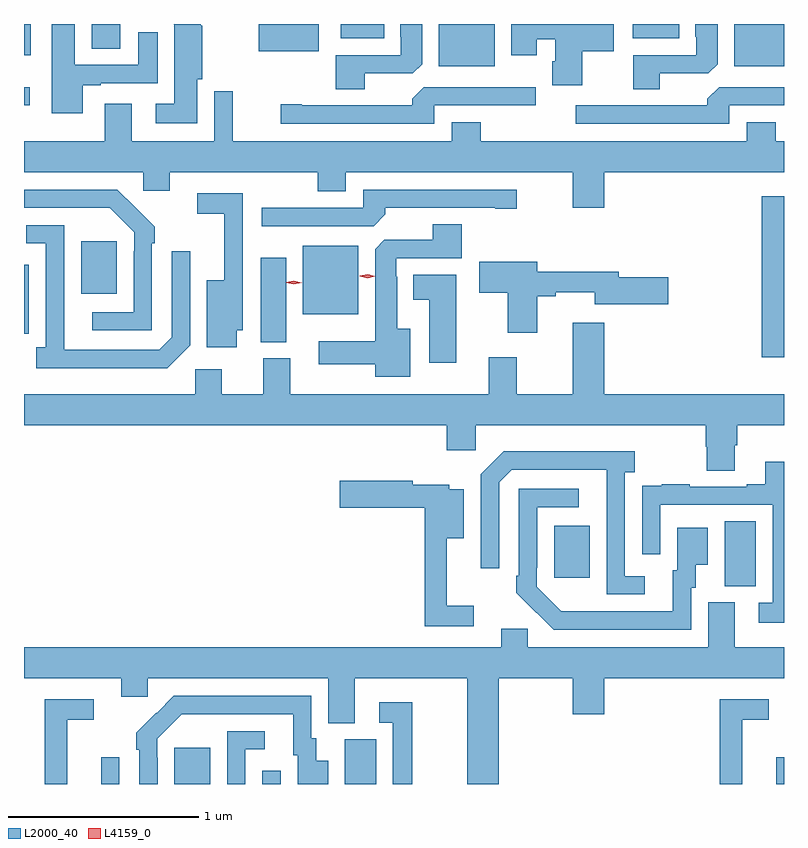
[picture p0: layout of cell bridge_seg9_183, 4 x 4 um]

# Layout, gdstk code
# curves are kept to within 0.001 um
import gdstk
lib = gdstk.Library(unit=1e-6, precision=1e-09)
def R(c, l, rs):  # rectangles x0, y0, x1, y1
    for r in rs: c.add(gdstk.rectangle(r[:2], r[2:], *l))
def P(c, l, *ps):  # polygons
    for p in ps: c.add(gdstk.Polygon(p, *l))
L2000_40 = (2000, 40)
L4159_0 = (4159, 0)

bridge_seg9_183 = lib.new_cell('bridge_seg9_183')
R(bridge_seg9_183, L2000_40, [(138.549,1242.484,138.645,1242.625), (138.935,1242.484,139.123,1242.676), (139.398,1242.484,139.494,1242.553), (139.832,1242.484,139.996,1242.72), (142.101,1242.484,142.143,1242.625), (141.83,1243.525,141.994,1243.868), (140.933,1243.569,141.121,1243.843), (142.027,1244.73,142.143,1245.577), (139.388,1244.809,139.522,1245.253), (139.61,1244.957,139.903,1245.316), (138.443,1245.065,138.631,1245.34), (138.143,1246.056,138.172,1246.152), (140.327,1246.262,140.62,1246.484), (141.881,1246.262,142.143,1246.484), (138.143,1246.32,138.178,1246.484), (139.378,1246.34,139.693,1246.484), (138.5,1246.354,138.649,1246.484), (139.811,1246.409,140.038,1246.484), (141.347,1246.409,141.592,1246.484)])
P(bridge_seg9_183, L2000_40, [(139.054,1246.194),(139.08,1246.194),(139.08,1246.474),(139.072,1246.481),(139.072,1246.484),(138.931,1246.484),(138.935,1246.48),(138.935,1246.063),(138.837,1246.063),(138.837,1245.962),(139.054,1245.962)],
  [(139.936,1246.224),(140.19,1246.224),(140.239,1246.273),(140.239,1246.484),(140.123,1246.484),(140.123,1246.417),(140.127,1246.417),(140.127,1246.32),(139.784,1246.32),(139.784,1246.141),(139.936,1246.141)],
  [(141.49,1246.224),(141.744,1246.224),(141.793,1246.273),(141.793,1246.484),(141.677,1246.484),(141.677,1246.417),(141.681,1246.417),(141.681,1246.32),(141.35,1246.32),(141.35,1246.141),(141.49,1246.141)],
  [(138.451,1246.161),(138.547,1246.161),(138.547,1246.173),(138.847,1246.173),(138.847,1246.441),(138.743,1246.441),(138.743,1246.269),(138.409,1246.269),(138.409,1246.484),(138.29,1246.484),(138.29,1246.014),(138.451,1246.014)],
  [(141.082,1246.34),(141.247,1246.34),(141.247,1246.484),(140.708,1246.484),(140.708,1246.32),(140.842,1246.32),(140.842,1246.404),(140.939,1246.404),(140.939,1246.287),(140.924,1246.287),(140.924,1246.161),(141.082,1246.161)],
  [(141.855,1246.056),(142.143,1246.056),(142.143,1246.152),(141.801,1246.152),(141.74,1246.09),(141.74,1246.056),(141.048,1246.056),(141.048,1245.96),(141.855,1245.96)],
  [(140.301,1246.056),(140.836,1246.056),(140.836,1246.152),(140.247,1246.152),(140.186,1246.09),(140.186,1246.056),(139.606,1246.056),(139.606,1246.061),(139.494,1246.061),(139.494,1245.96),(140.301,1245.96)],
  [(141.196,1245.704),(142.143,1245.704),(142.143,1245.868),(142.1,1245.868),(142.1,1245.967),(141.947,1245.967),(141.947,1245.868),(140.546,1245.868),(140.546,1245.967),(140.393,1245.967),(140.393,1245.868),(139.242,1245.868),(139.242,1246.129),(139.143,1246.129),(139.143,1245.868),(138.709,1245.868),(138.709,1246.063),(138.569,1246.063),(138.569,1245.868),(138.143,1245.868),(138.143,1245.704),(138.771,1245.704),(138.771,1245.606),(138.91,1245.606),(138.91,1245.704),(139.69,1245.704),(139.69,1245.605),(139.837,1245.605),(139.837,1245.704),(141.032,1245.704),(141.032,1245.516),(141.196,1245.516)],
  [(140.045,1245.482),(140.045,1245.516),(140.624,1245.516),(140.624,1245.511),(140.737,1245.511),(140.737,1245.612),(139.929,1245.612),(139.929,1245.516),(139.395,1245.516),(139.395,1245.42),(139.983,1245.42)],
  [(138.816,1245.329),(138.831,1245.329),(138.831,1245.417),(138.634,1245.612),(138.143,1245.612),(138.143,1245.516),(138.595,1245.516),(138.723,1245.387),(138.723,1245.287),(138.72,1245.287),(138.72,1244.967),(138.501,1244.967),(138.501,1244.871),(138.816,1244.871)],
  [(139.264,1244.873),(139.293,1244.873),(139.293,1245.594),(139.056,1245.594),(139.056,1245.486),(139.196,1245.486),(139.196,1245.136),(139.106,1245.136),(139.106,1244.784),(139.264,1244.784)],
  [(140.176,1244.881),(140.107,1244.881),(140.107,1245.155),(140.103,1245.155),(140.103,1245.252),(140.447,1245.252),(140.447,1245.431),(140.294,1245.431),(140.294,1245.348),(140.04,1245.348),(139.991,1245.299),(139.991,1244.815),(139.695,1244.815),(139.695,1244.693),(139.991,1244.693),(139.991,1244.627),(140.176,1244.627)],
  [(139.017,1244.793),(139.017,1245.289),(138.921,1245.289),(138.921,1244.835),(138.855,1244.769),(138.355,1244.769),(138.354,1245.426),(138.156,1245.426),(138.156,1245.33),(138.258,1245.33),(138.258,1244.782),(138.207,1244.782),(138.207,1244.672),(138.896,1244.672)],
  [(140.845,1245.052),(140.941,1245.052),(140.941,1245.071),(141.146,1245.071),(141.146,1245.01),(141.535,1245.01),(141.535,1245.152),(141.274,1245.152),(141.274,1245.181),(140.845,1245.181),(140.845,1245.232),(140.538,1245.232),(140.538,1245.07),(140.69,1245.07),(140.69,1244.859),(140.845,1244.859)],
  [(138.167,1244.962),(138.168,1244.962),(138.168,1245.217),(138.143,1245.217),(138.143,1244.853),(138.167,1244.853)],
  [(140.419,1245.163),(140.192,1245.163),(140.192,1245.032),(140.276,1245.032),(140.276,1244.7),(140.419,1244.7)],
  [(141.883,1244.266),(141.896,1244.266),(141.896,1244.372),(142.143,1244.372),(142.143,1244.536),(141.196,1244.536),(141.196,1244.911),(141.032,1244.911),(141.032,1244.536),(140.736,1244.536),(140.736,1244.731),(140.588,1244.731),(140.588,1244.536),(139.543,1244.536),(139.543,1244.724),(139.403,1244.724),(139.403,1244.536),(139.183,1244.536),(139.183,1244.668),(139.044,1244.668),(139.044,1244.536),(138.143,1244.536),(138.143,1244.372),(140.369,1244.372),(140.369,1244.241),(140.52,1244.241),(140.52,1244.372),(141.731,1244.372),(141.731,1244.259),(141.736,1244.259),(141.736,1244.134),(141.883,1244.134)],
  [(141.409,1243.578),(141.306,1243.578),(141.306,1244.126),(141.358,1244.126),(141.358,1244.236),(140.668,1244.236),(140.547,1244.115),(140.547,1243.62),(140.643,1243.62),(140.643,1244.073),(140.709,1244.139),(141.209,1244.139),(141.21,1243.482),(141.409,1243.482)],
  [(142.143,1244.179),(142.043,1244.179),(142.043,1244.062),(141.947,1244.062),(141.947,1244.049),(141.647,1244.049),(141.647,1244.062),(141.499,1244.062),(141.499,1244.055),(141.397,1244.055),(141.397,1243.946),(141.396,1243.946),(141.396,1243.692),(141.492,1243.692),(141.492,1243.953),(142.083,1243.953),(142.083,1243.437),(142.011,1243.437),(142.011,1243.332),(142.143,1243.332)],
  [(140.509,1243.423),(140.369,1243.423),(140.369,1243.778),(140.458,1243.778),(140.458,1244.035),(140.382,1244.035),(140.382,1244.059),(140.19,1244.059),(140.19,1244.079),(139.806,1244.079),(139.806,1243.937),(140.251,1243.937),(140.251,1243.314),(140.509,1243.314)],
  [(141.654,1243.518),(141.679,1243.518),(141.679,1243.637),(141.742,1243.637),(141.742,1243.834),(141.581,1243.834),(141.581,1243.608),(141.557,1243.608),(141.557,1243.392),(140.97,1243.393),(140.841,1243.521),(140.841,1243.621),(140.844,1243.621),(140.844,1243.941),(141.064,1243.941),(141.064,1244.037),(140.748,1244.037),(140.748,1243.579),(140.733,1243.579),(140.733,1243.491),(140.93,1243.296),(141.654,1243.296)],
  [(140.641,1243.04),(141.032,1243.04),(141.032,1242.852),(141.196,1242.852),(141.196,1243.04),(142.143,1243.04),(142.143,1243.204),(141.883,1243.204),(141.883,1243.44),(141.743,1243.44),(141.743,1243.204),(140.793,1243.204),(140.793,1243.302),(140.654,1243.302),(140.654,1243.204),(138.143,1243.204),(138.143,1243.04),(138.656,1243.04),(138.656,1242.942),(138.795,1242.942),(138.795,1243.04),(139.745,1243.04),(139.745,1242.805),(139.885,1242.805),(139.885,1243.04),(140.477,1243.04),(140.477,1242.484),(140.641,1242.484)],
  [(138.846,1242.623),(138.843,1242.623),(138.843,1242.723),(138.972,1242.852),(139.559,1242.852),(139.559,1242.636),(139.583,1242.636),(139.583,1242.484),(139.744,1242.484),(139.744,1242.607),(139.681,1242.607),(139.681,1242.726),(139.656,1242.726),(139.656,1242.948),(138.932,1242.948),(138.735,1242.753),(138.735,1242.665),(138.75,1242.665),(138.75,1242.484),(138.846,1242.484)],
  [(141.923,1242.822),(142.063,1242.822),(142.063,1242.93),(141.805,1242.93),(141.805,1242.484),(141.923,1242.484)],
  [(138.371,1242.822),(138.511,1242.822),(138.511,1242.93),(138.253,1242.93),(138.253,1242.484),(138.371,1242.484)],
  [(140.186,1242.913),(140.013,1242.913),(140.013,1242.807),(140.085,1242.807),(140.085,1242.484),(140.186,1242.484)],
  [(139.308,1242.666),(139.411,1242.666),(139.411,1242.762),(139.212,1242.762),(139.212,1242.484),(139.308,1242.484)])
P(bridge_seg9_183, L4159_0, [(139.951,1245.147),(139.91,1245.157),(139.91,1245.158),(139.91,1245.158),(139.951,1245.167),(139.992,1245.157),(139.992,1245.157),(139.992,1245.156)],
  [(139.564,1245.113),(139.524,1245.123),(139.524,1245.124),(139.524,1245.124),(139.564,1245.133),(139.604,1245.123),(139.604,1245.123),(139.604,1245.122)])

lib.write_gds('bridge_seg9_183.gds')
